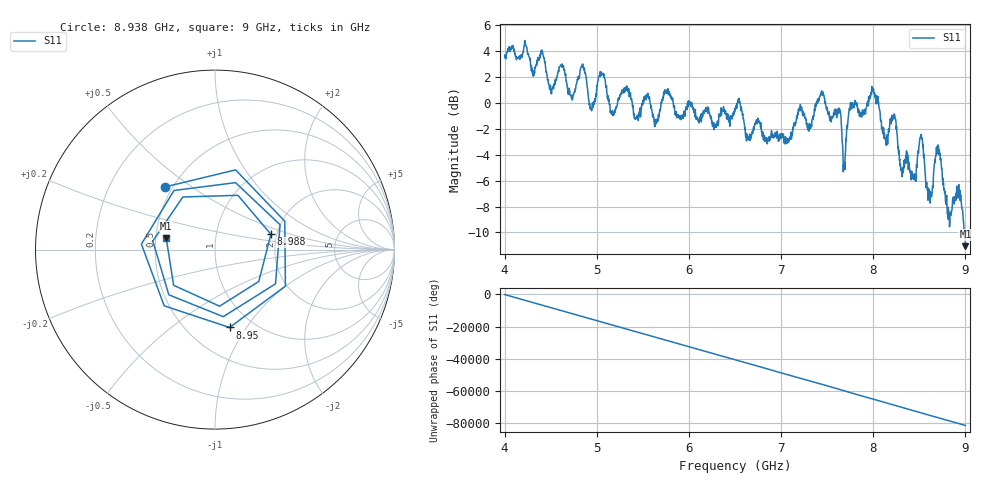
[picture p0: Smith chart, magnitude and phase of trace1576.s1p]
! Created with skrf 1.8.0 (http://scikit-rf.org).
# Hz S RI R 50.0
!freq ReS11 ImS11
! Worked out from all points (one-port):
!   1601 points, 4 GHz to 9 GHz, reference 50 ohm
!   lowest |S11| = -11.1 dB at 9 GHz (marker M1), VSWR 1.78, Z = 28.4 + j4.04 ohm
!   |S11| at or under -10 dB: 8.988923 GHz to 8.993978 GHz (5.056 MHz wide, 0.0562 % of centre); 8.994026 GHz to end of sweep
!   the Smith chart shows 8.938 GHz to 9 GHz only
!   S11 on the Smith chart (normalised r, x): 8.938 GHz: 0.46, +0.40; 8.95 GHz: 0.78, -0.84; 8.988 GHz: 1.86, +0.35; 9 GHz: 0.57, +0.08
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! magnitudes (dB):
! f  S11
! 4 GHz  3.6
! 4.406 GHz  4.1
! 4.506 GHz  0.8
! 4.625 GHz  2.7
! 4.731 GHz  0.6
! 4.853 GHz  2.7
! 4.941 GHz  -0.6
! 5.047 GHz  2.3
! 5.162 GHz  -0.9
! 5.25 GHz  0.5
! 5.875 GHz  -1.0
! 6.5 GHz  -0.6
! 7.125 GHz  -2.1
! 7.447 GHz  0.7
! 7.631 GHz  -0.6
! 7.684 GHz  -4.9
! 7.75 GHz  -0.2
! 8.003 GHz  1.1
! 8.375 GHz  -4.5
! 8.438 GHz  -5.7
! 8.519 GHz  -2.7
! 8.612 GHz  -6.8
! 8.706 GHz  -3.3
! 8.825 GHz  -8.8
! 8.938 GHz  -7.0
! 8.95 GHz  -7.1
! 8.988 GHz  -9.8
! 9 GHz  -11.1
